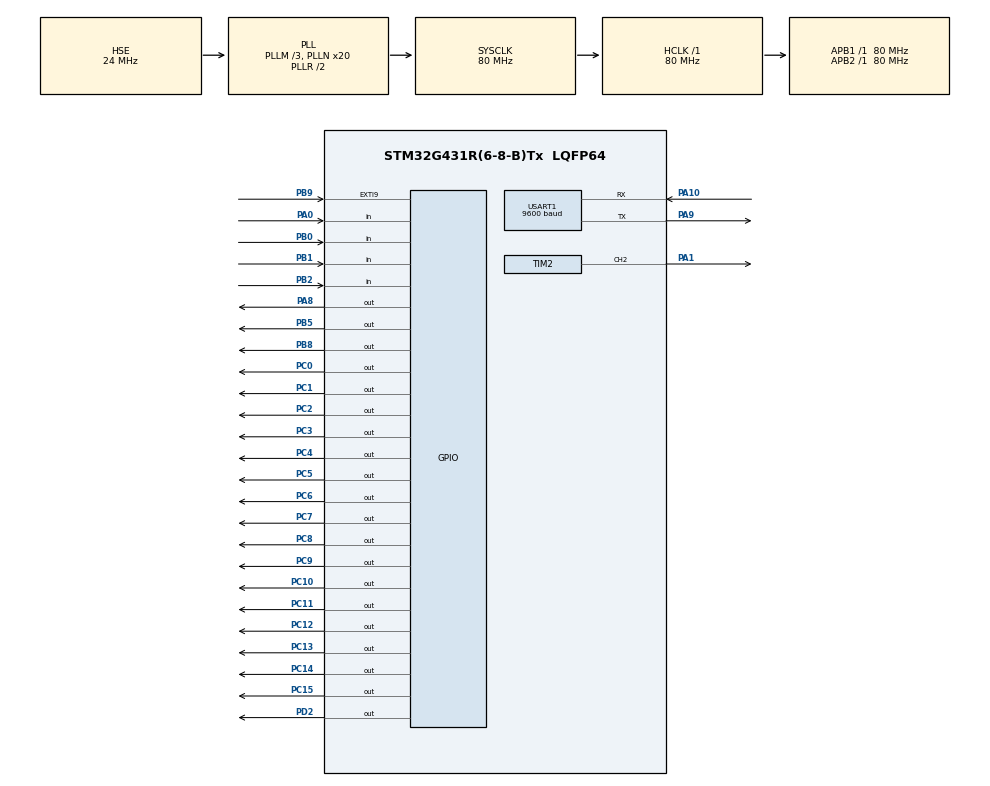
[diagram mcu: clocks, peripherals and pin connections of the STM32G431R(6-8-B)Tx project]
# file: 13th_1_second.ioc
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Mcu.Family=STM32G4
Mcu.Name=STM32G431R(6-8-B)Tx
Mcu.Package=LQFP64
NVIC.PriorityGroup=NVIC_PRIORITYGROUP_4
NVIC.TIM4_IRQn=true\:0\:0\:false\:false\:true\:true\:true\:true
NVIC.USART1_IRQn=true\:0\:0\:false\:false\:true\:true\:true\:true
PA0.GPIO_PuPd=GPIO_PULLUP
PA0.Signal=GPIO_Input
PA1.Signal=S_TIM2_CH2
PA10.Mode=Asynchronous
PA10.Signal=USART1_RX
PA13.Mode=Serial_Wire
PA13.Signal=SYS_JTMS-SWDIO
PA14.Mode=Serial_Wire
PA14.Signal=SYS_JTCK-SWCLK
PA8.Signal=GPIO_Output
PA9.Mode=Asynchronous
PA9.Signal=USART1_TX
PB0.GPIO_PuPd=GPIO_PULLUP
PB0.Signal=GPIO_Input
PB1.GPIO_PuPd=GPIO_PULLUP
PB1.Signal=GPIO_Input
PB2.GPIO_PuPd=GPIO_PULLUP
PB2.Signal=GPIO_Input
PB5.Signal=GPIO_Output
PB8-BOOT0.Signal=GPIO_Output
PB9.Signal=GPXTI9
PC0.Signal=GPIO_Output
PC1.Signal=GPIO_Output
PC10.PinState=GPIO_PIN_SET
PC10.Signal=GPIO_Output
PC11.PinState=GPIO_PIN_SET
PC11.Signal=GPIO_Output
PC12.PinState=GPIO_PIN_SET
PC12.Signal=GPIO_Output
PC13.PinState=GPIO_PIN_SET
PC13.Signal=GPIO_Output
PC14-OSC32_IN.PinState=GPIO_PIN_SET
PC14-OSC32_IN.Signal=GPIO_Output
PC15-OSC32_OUT.PinState=GPIO_PIN_SET
PC15-OSC32_OUT.Signal=GPIO_Output
PC2.Signal=GPIO_Output
PC3.Signal=GPIO_Output
PC4.Signal=GPIO_Output
PC5.Signal=GPIO_Output
PC6.Signal=GPIO_Output
PC7.Signal=GPIO_Output
PC8.PinState=GPIO_PIN_SET
PC8.Signal=GPIO_Output
PC9.PinState=GPIO_PIN_SET
PC9.Signal=GPIO_Output
PD2.Signal=GPIO_Output
PF0-OSC_IN.Mode=HSE-External-Oscillator
PF0-OSC_IN.Signal=RCC_OSC_IN
PF1-OSC_OUT.Mode=HSE-External-Oscillator
PF1-OSC_OUT.Signal=RCC_OSC_OUT
ProjectManager.HeapSize=0x200
ProjectManager.StackSize=0x400
ProjectManager.TargetToolchain=MDK-ARM V5.32
RCC.ADC12Freq_Value=80000000
RCC.AHBFreq_Value=80000000
RCC.APB1Freq_Value=80000000
RCC.APB1TimFreq_Value=80000000
RCC.APB2Freq_Value=80000000
RCC.APB2TimFreq_Value=80000000
RCC.CortexFreq_Value=80000000
RCC.EXTERNAL_CLOCK_VALUE=12288000
RCC.HCLKFreq_Value=80000000
RCC.HSE_VALUE=24000000
RCC.HSI48_VALUE=48000000
RCC.HSI_VALUE=16000000
RCC.LSE_VALUE=32768
RCC.PLLM=RCC_PLLM_DIV3
RCC.PLLN=20
RCC.PLLSourceVirtual=RCC_PLLSOURCE_HSE
RCC.SYSCLKFreq_VALUE=80000000
RCC.SYSCLKSource=RCC_SYSCLKSOURCE_PLLCLK
RCC.USBFreq_Value=80000000
RCC.VCOOutputFreq_Value=160000000
SH.S_TIM2_CH2.0=TIM2_CH2,PWM Generation2 CH2
TIM2.Channel-PWM\ Generation2\ CH2=TIM_CHANNEL_2
TIM2.PeriodNoDither=100-1
TIM2.Prescaler=800-1
TIM2.PulseNoDither_2=50
TIM4.PeriodNoDither=10000-1
TIM4.Prescaler=80-1
USART1.BaudRate=9600
USART1.VirtualMode-Asynchronous=VM_ASYNC
VP_SYS_VS_DBSignals.Mode=DisableDeadBatterySignals
VP_TIM2_VS_ClockSourceINT.Mode=Internal
VP_TIM4_VS_ClockSourceINT.Mode=Internal
board=custom

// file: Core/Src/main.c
/* USER CODE BEGIN Header */
/**
  ******************************************************************************
  * @file           : main.c
  * @brief          : Main program body
  ******************************************************************************
  * @attention
  *
  * Copyright (c) 2024 STMicroelectronics.
  * All rights reserved.
  *
  * This software is licensed under terms that can be found in the LICENSE file
  * in the root directory of this software component.
  * If no LICENSE file comes with this software, it is provided AS-IS.
  *
  ******************************************************************************
  */
/* USER CODE END Header */
#include "main.h"
#include "tim.h"
#include "usart.h"
#include "gpio.h"

/* USER CODE BEGIN Includes */

#include "lcd.h"
#include "led.h"
#include "timer.h"
#include "myusart.h"

#include "stdio.h"
#include "string.h"

/* USER CODE END Includes */

/* USER CODE BEGIN PTD */

unsigned char ucled=0x00;
unsigned char lcd_text[30];
unsigned char usart_text[30];
unsigned char view=0;

__IO uint32_t uwTick_Lcd;
__IO uint32_t uwTick_Led;

unsigned char B1='1';
unsigned char B2='2';
unsigned char B3='3';

unsigned char Input_B1='@';
unsigned char Input_B2='@';
unsigned char Input_B3='@';

int F=1000;
int D=50;

unsigned char success_flag=0;//密码正确标志位
int lose_count=0;//输错次数

/* USER CODE END PTD */

void SystemClock_Config(void);
/* USER CODE BEGIN PFP */

void lcd_proc(void);
void key_proc(void);
void usart_proc(void);
void led_proc(void);

/* USER CODE END PFP */

int main(void)
{

  /* MCU Configuration--------------------------------------------------------*/

  /* Reset of all peripherals, Initializes the Flash interface and the Systick. */
  HAL_Init();

  /* Configure the system clock */
  SystemClock_Config();

  /* Initialize all configured peripherals */
  MX_GPIO_Init();
  MX_TIM2_Init();
  MX_TIM4_Init();
  MX_USART1_UART_Init();
  /* USER CODE BEGIN 2 */

    led_disp(ucled);

    LCD_Init();
    LCD_Clear(Black);
    LCD_SetBackColor(Black);
    LCD_SetTextColor(White);

    HAL_TIM_Base_Start_IT(&htim4);
    HAL_TIM_PWM_Start(&htim2,TIM_CHANNEL_2);

    HAL_UART_Receive_IT(&huart1,&rxdat,1);

  /* USER CODE END 2 */

  /* Infinite loop */
  while (1)
  {

    /* USER CODE BEGIN 3 */
      if(rx_pointer!=0)
      {
          int temp=rx_pointer;
          HAL_Delay(2);
          if(temp==rx_pointer)
              usart_proc();
      }
      key_proc();
      lcd_proc();
      led_proc();
  }
  /* USER CODE END 3 */
}

void SystemClock_Config(void)
{
  RCC_OscInitTypeDef RCC_OscInitStruct = {0};
  RCC_ClkInitTypeDef RCC_ClkInitStruct = {0};

  /** Configure the main internal regulator output voltage
  */
  HAL_PWREx_ControlVoltageScaling(PWR_REGULATOR_VOLTAGE_SCALE1);

  /** Initializes the RCC Oscillators according to the specified parameters
  * in the RCC_OscInitTypeDef structure.
  */
  RCC_OscInitStruct.OscillatorType = RCC_OSCILLATORTYPE_HSE;
  RCC_OscInitStruct.HSEState = RCC_HSE_ON;
  RCC_OscInitStruct.PLL.PLLState = RCC_PLL_ON;
  RCC_OscInitStruct.PLL.PLLSource = RCC_PLLSOURCE_HSE;
  RCC_OscInitStruct.PLL.PLLM = RCC_PLLM_DIV3;
  RCC_OscInitStruct.PLL.PLLN = 20;
  RCC_OscInitStruct.PLL.PLLP = RCC_PLLP_DIV2;
  RCC_OscInitStruct.PLL.PLLQ = RCC_PLLQ_DIV2;
  RCC_OscInitStruct.PLL.PLLR = RCC_PLLR_DIV2;
  if (HAL_RCC_OscConfig(&RCC_OscInitStruct) != HAL_OK)
  {
    Error_Handler();
  }

  /** Initializes the CPU, AHB and APB buses clocks
  */
  RCC_ClkInitStruct.ClockType = RCC_CLOCKTYPE_HCLK|RCC_CLOCKTYPE_SYSCLK
                              |RCC_CLOCKTYPE_PCLK1|RCC_CLOCKTYPE_PCLK2;
  RCC_ClkInitStruct.SYSCLKSource = RCC_SYSCLKSOURCE_PLLCLK;
  RCC_ClkInitStruct.AHBCLKDivider = RCC_SYSCLK_DIV1;
  RCC_ClkInitStruct.APB1CLKDivider = RCC_HCLK_DIV1;
  RCC_ClkInitStruct.APB2CLKDivider = RCC_HCLK_DIV1;

  if (HAL_RCC_ClockConfig(&RCC_ClkInitStruct, FLASH_LATENCY_2) != HAL_OK)
  {
    Error_Handler();
  }
}

/* USER CODE BEGIN 4 */

void lcd_proc(void)
{
    if((uwTick-uwTick_Lcd)<100)return;
    uwTick_Lcd=uwTick;

    switch(view)
    {
        case 0://密码输入界面
            memset(lcd_text,0,sizeof(lcd_text));
            sprintf((char *)lcd_text,"       PSD           ");
            LCD_DisplayStringLine(Line1,lcd_text);

            memset(lcd_text,0,sizeof(lcd_text));
            sprintf((char *)lcd_text,"    B1:%c              ",Input_B1);
            LCD_DisplayStringLine(Line3,lcd_text);

            memset(lcd_text,0,sizeof(lcd_text));
            sprintf((char *)lcd_text,"    B2:%c              ",Input_B2);
            LCD_DisplayStringLine(Line4,lcd_text);

            memset(lcd_text,0,sizeof(lcd_text));
            sprintf((char *)lcd_text,"    B3:%c              ",Input_B3);
            LCD_DisplayStringLine(Line5,lcd_text);
            break;

        case 1://输出状态界面
            memset(lcd_text,0,sizeof(lcd_text));
            sprintf((char *)lcd_text,"       STA           ");
            LCD_DisplayStringLine(Line1,lcd_text);

            memset(lcd_text,0,sizeof(lcd_text));
            sprintf((char *)lcd_text,"    F:%dHz              ",F);
            LCD_DisplayStringLine(Line3,lcd_text);

            memset(lcd_text,0,sizeof(lcd_text));
            sprintf((char *)lcd_text,"    D:%d%%              ",D);
            LCD_DisplayStringLine(Line4,lcd_text);
            break;
    }

}

void key_proc(void)
{
    if(1==key[0].single_flag)//输入密码第一位
    {
        key[0].single_flag=0;
        if(0==view)//密码输入界面
        {
            if(Input_B1=='@')
            {
                Input_B1=0+'0';
            }
            else
            {
                Input_B1++;
                if(Input_B1==(10+'0'))
                    Input_B1=0+'0';
            }
        }
    }
    else if(1==key[1].single_flag)//输入密码第二位
    {
        key[1].single_flag=0;
        if(0==view)//密码输入界面
        {
            if(Input_B2=='@')
            {
                Input_B2=0+'0';
            }
            else
            {
                Input_B2++;
                if(Input_B2==(10+'0'))
                    Input_B2=0+'0';
            }
        }
    }
    else if(1==key[2].single_flag)//输入密码第三位
    {
        key[2].single_flag=0;
        if(0==view)//密码输入界面
        {
            if(Input_B3=='@')
            {
                Input_B3=0+'0';
            }
            else
            {
                Input_B3++;
                if(Input_B3==(10+'0'))
                    Input_B3=0+'0';
            }
        }
    }
    else if(1==key[3].single_flag)//确实密码
    {
        key[3].single_flag=0;
        if(0==view)//密码输入界面
        {
            //密码正确，调整到输出状态界面
            if((Input_B1==B1)&&(B2==Input_B2)&&(B3==Input_B3))
            {
                lose_count=0;
                view=1;
                success_flag=1;
                LCD_Clear(Black);
            }
            //密码错误，停留在密码输入界面，且显示界面的三位密码值重置为0
            else
            {
                lose_count++;
                Input_B1='@';
                Input_B2='@';
                Input_B3='@';
            }
        }
    }
}

void usart_proc(void)
{
     if(rx_pointer!=0)
     {
        if(7==rx_pointer){
             if((rxdata[0]==B1)&&(rxdata[1]==B2)&&(rxdata[2]==B3)&&(rxdata[3]=='-'))
             {
                 if((rxdata[4]>='0'&&rxdata[4]<='9')&&(rxdata[5]>='0'&&rxdata[5]<='9')&&(rxdata[6]>='0'&&rxdata[6]<='9'))
                 {
                     B1=rxdata[4];
                     B2=rxdata[5];
                     B3=rxdata[6];
                 }
             }
        }
         rx_pointer=0;
         memset(rxdata,0,sizeof(rxdata));
     }
}

void led_proc(void)
{
    if((uwTick-uwTick_Led)<50)return;
    uwTick_Led=uwTick;

    led_disp(ucled);
}

/* USER CODE END 4 */

void Error_Handler(void)
{
  __disable_irq();
  while (1)
  {
  }
}
